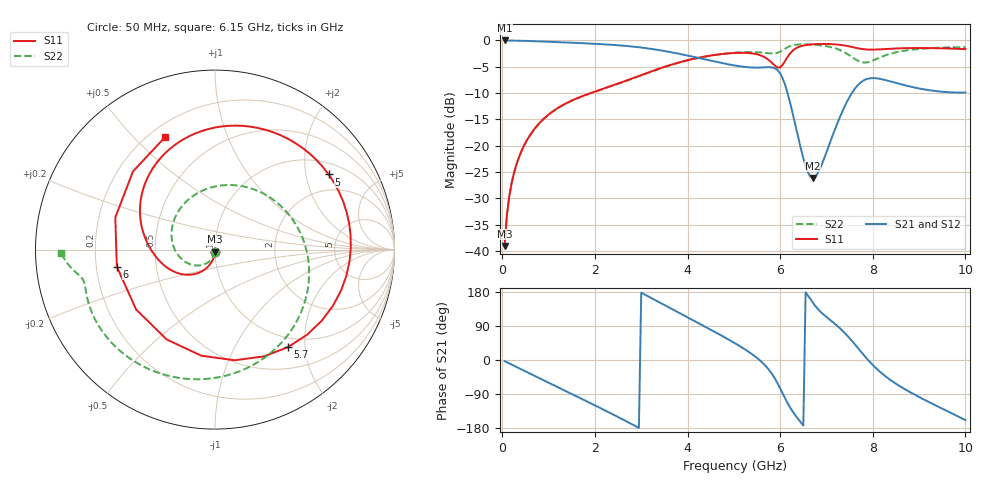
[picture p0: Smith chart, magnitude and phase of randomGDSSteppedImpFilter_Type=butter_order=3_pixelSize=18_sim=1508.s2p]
! freq	dB(S11)	phase(S11)	dB(S12)	phase(S12)
!  dB(S21)	phase(S21)	dB(S22)	phase(S22)
!S-par simulation data
#  GHz  S  DB  R 50
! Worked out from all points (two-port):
!   200 points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, 50 MHz to 10 GHz, reference 50 ohm
!   highest |S21| = -0.01 dB at 50 MHz (marker M1); lowest = -26.1 dB at 6.7 GHz (marker M2)
!   |S21| within 3 dB of the highest: start of sweep to 4.071 GHz
!   lowest |S11| = -39.1 dB at 50 MHz (marker M3), VSWR 1.02, Z = 50 - j1.11 ohm
!   |S11| at or under -10 dB: start of sweep to 1.91 GHz
!   |S22| runs from -39.1 to -0.7 dB; largest |S21 - S12| = 0
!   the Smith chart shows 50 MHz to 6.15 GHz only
!   S11 on the Smith chart (normalised r, x): 50 MHz: 1.00, -0.02; 5 GHz: 1.37, +2.70; 5.7 GHz: 0.83, -1.68; 6 GHz: 0.29, -0.08; 6.15 GHz: 0.26, +0.62
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0.05  -39.06 -91.2  -0.01 -3.1  -0.01 -3.1  -39.08 -92.7
0.2  -27.18 -99.1  -0.03 -12.1  -0.03 -12.1  -27.21 -104.9
0.5  -19.47 -113.2  -0.09 -30.0  -0.09 -30.0  -19.50 -127.7
1.75  -10.52 -163.3  -0.54 -104.4  -0.54 -104.4  -10.56 132.9
2.65  -7.72 166.6  -1.03 -160.0  -1.03 -160.0  -7.79 51.9
3.4  -5.32 135.0  -1.86 151.7  -1.86 151.7  -5.38 -13.0
4.35  -3.10 80.6  -3.55 89.8  -3.55 89.8  -3.12 -81.7
5  -2.39 33.5  -4.74 46.0  -4.74 46.0  -2.34 -121.5
5.05  -2.37 29.3  -4.81 42.4  -4.81 42.4  -2.31 -124.4
5.45  -2.54 -11.5  -5.16 10.2  -5.16 10.2  -2.22 -147.0
5.7  -3.37 -53.2  -5.09 -17.6  -5.09 -17.6  -2.38 -159.8
5.85  -4.49 -97.3  -5.17 -41.7  -5.17 -41.7  -2.48 -165.7
6  -5.11 -170.2  -6.28 -74.7  -6.28 -74.7  -2.14 -170.3
6.15  -3.27 113.8  -9.69 -111.3  -9.69 -111.3  -1.34 -178.7
6.4  -1.25 43.1  -18.80 -157.5  -18.80 -157.5  -0.77 161.0
6.7  -0.73 1.1  -26.12 152.3  -26.12 152.3  -0.80 135.5
7.2  -0.75 -42.2  -16.52 93.6  -16.52 93.6  -1.52 79.0
7.55  -1.24 -65.4  -9.97 50.5  -9.97 50.5  -3.15 9.6
7.9  -1.74 -82.2  -7.26 -0.2  -7.26 -0.2  -4.13 -89.9
8.35  -1.59 -102.6  -7.71 -50.0  -7.71 -50.0  -2.62 -177.0
9.1  -1.45 -140.5  -9.29 -104.0  -9.29 -104.0  -1.55 111.7
10  -1.65 169.7  -9.90 -158.5  -9.90 -158.5  -1.28 51.4
